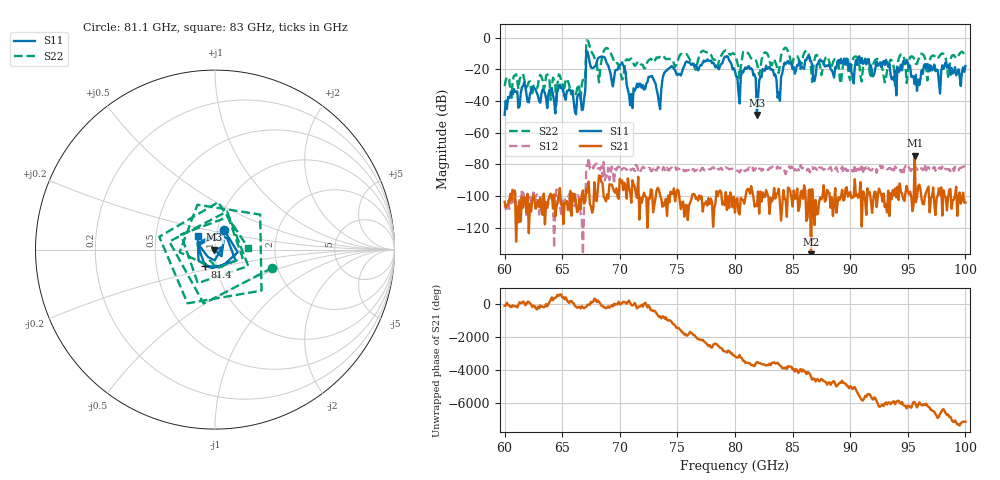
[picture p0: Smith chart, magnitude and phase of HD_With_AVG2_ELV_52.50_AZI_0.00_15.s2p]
! 11/25/2026 10:17:18 AM
! C:\ANRITSUVNA\TEMP\TEMP.S2P
! CHANNEL.1
! TR.MEASUREMENT
! RAW.DATA
# HZ S RI R 50.0
! FREQ.HZ  S11RE  S11IM  S21RE  S21IM  S12RE  S12IM  S22RE  S22IM
!; PortSelection: Port_12
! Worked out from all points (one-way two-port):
!   401 points, 60 GHz to 100 GHz, reference 50 ohm
!   highest |S21| = -74.52 dB at 95.6 GHz (marker M1); lowest = -140.0 dB at 86.6 GHz (marker M2)
!   lowest |S11| = -48.8 dB at 81.9 GHz (marker M3), VSWR 1.01, Z = 49.6 + j0.0306 ohm
!   |S11| at or under -10 dB: start of sweep to 67.09 GHz; 67.23 GHz to end of sweep
!   |S22| runs from -42.9 to -1.7 dB; largest |S21 - S12| = 0.00027
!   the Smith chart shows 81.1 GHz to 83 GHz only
!   S11 on the Smith chart (normalised r, x): 81.1 GHz: 1.08, +0.24; 81.4 GHz: 0.88, -0.17; 83 GHz: 0.82, +0.12
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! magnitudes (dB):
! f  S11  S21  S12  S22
! 60 GHz  -48.7  -103.7  -106.0  -30.5
! 61.6 GHz  -30.6  -107.3  -96.6  -22.8
! 66.7 GHz  -45.7  -99.1  -114.1  -29.5
! 67.3 GHz  -12.1  -90.9  -75.9  -3.2
! 68.4 GHz  -11.8  -91.2  -81.5  -14.7
! 70.3 GHz  -17.5  -96.2  -82.4  -25.5
! 70.9 GHz  -42.7  -97.5  -83.3  -13.5
! 72.7 GHz  -24.4  -95.7  -84.3  -13.3
! 73.4 GHz  -41.1  -96.4  -82.1  -12.6
! 74.4 GHz  -18.6  -97.2  -82.5  -13.4
! 80 GHz  -21.2  -110.5  -83.1  -11.1
! 81.1 GHz  -18.4  -95.5  -83.6  -9.5
! 81.4 GHz  -19.3  -93.7  -82.5  -13.0
! 81.9 GHz  -48.8  -106.4  -83.6  -15.9
! 83 GHz  -18.4  -111.3  -82.1  -14.6
! 83.8 GHz  -34.5  -95.5  -82.4  -22.3
! 84.4 GHz  -16.7  -102.3  -86.2  -6.2
! 86.6 GHz  -14.7  -140.0  -83.5  -19.2
! 86.7 GHz  -17.5  -95.7  -81.7  -28.0
! 93.4 GHz  -16.3  -112.6  -82.2  -15.6
! 95.6 GHz  -29.4  -74.5  -80.6  -13.7
! 100 GHz  -17.9  -104.2  -82.0  -12.1
